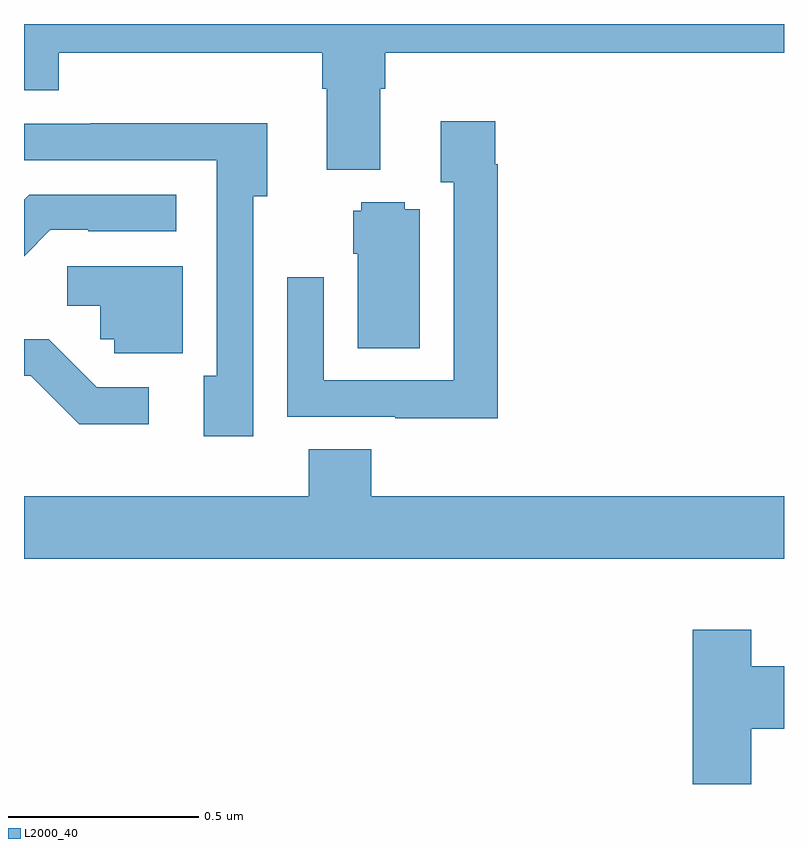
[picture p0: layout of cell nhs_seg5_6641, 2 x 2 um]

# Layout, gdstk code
import gdstk
lib = gdstk.Library(unit=1e-6, precision=1e-09)
def P(c, l, *ps):  # polygons
    for p in ps: c.add(gdstk.Polygon(p, *l))
L2000_40 = (2000, 40)

nhs_seg5_6641 = lib.new_cell('nhs_seg5_6641')
P(nhs_seg5_6641, L2000_40, [(198.937,892.628),(198.95,892.628),(198.95,892.724),(200,892.724),(200,892.799),(198,892.799),(198,892.625),(198.092,892.625),(198.092,892.724),(198.785,892.724),(198.785,892.628),(198.797,892.628),(198.797,892.415),(198.937,892.415)],
  [(199.247,892.43),(199.24,892.43),(199.24,892.543),(199.097,892.543),(199.097,892.382),(199.131,892.382),(199.131,891.861),(198.789,891.861),(198.789,892.132),(198.693,892.132),(198.693,891.765),(198.977,891.765),(198.977,891.761),(199.247,891.761)],
  [(198.603,892.346),(198.64,892.346),(198.64,892.538),(198.175,892.538),(198.175,892.536),(198,892.536),(198,892.44),(198.507,892.44),(198.507,891.874),(198.473,891.874),(198.473,891.714),(198.603,891.714)],
  [(198.069,892.257),(198.169,892.257),(198.169,892.254),(198.4,892.254),(198.4,892.35),(198.014,892.35),(198,892.336),(198,892.188)],
  [(199.042,892.312),(199.002,892.312),(199.002,892.33),(198.888,892.33),(198.888,892.308),(198.866,892.308),(198.866,892.194),(198.878,892.194),(198.878,891.946),(199.042,891.946)],
  [(198.418,892.161),(198.114,892.161),(198.114,892.058),(198.201,892.058),(198.201,891.969),(198.237,891.969),(198.237,891.933),(198.418,891.933)],
  [(198.328,891.843),(198.192,891.843),(198.065,891.97),(198,891.97),(198,891.873),(198.018,891.873),(198.146,891.746),(198.328,891.746)],
  [(200,891.556),(198.914,891.556),(198.914,891.68),(198.749,891.68),(198.749,891.556),(198,891.556),(198,891.392),(200,891.392)],
  [(199.914,890.944),(200,890.944),(200,891.109),(199.914,891.109),(199.914,891.205),(199.76,891.205),(199.76,890.799),(199.914,890.799)])

lib.write_gds('nhs_seg5_6641.gds')
